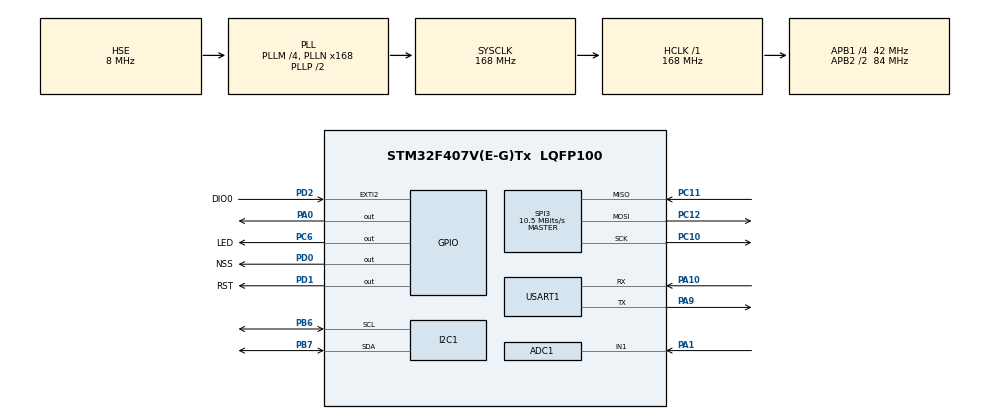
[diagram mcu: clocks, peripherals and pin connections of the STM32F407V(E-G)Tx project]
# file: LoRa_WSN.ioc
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ADC1.Channel-0\#ChannelRegularConversion=ADC_CHANNEL_1
ADC1.NbrOfConversionFlag=1
ADC1.Rank-0\#ChannelRegularConversion=1
ADC1.SamplingTime-0\#ChannelRegularConversion=ADC_SAMPLETIME_3CYCLES
ADC1.master=1
Dma.ADC1.0.Direction=DMA_PERIPH_TO_MEMORY
Dma.ADC1.0.FIFOMode=DMA_FIFOMODE_DISABLE
Dma.ADC1.0.Instance=DMA2_Stream0
Dma.ADC1.0.MemDataAlignment=DMA_MDATAALIGN_HALFWORD
Dma.ADC1.0.MemInc=DMA_MINC_ENABLE
Dma.ADC1.0.Mode=DMA_NORMAL
Dma.ADC1.0.PeriphDataAlignment=DMA_PDATAALIGN_HALFWORD
Dma.ADC1.0.PeriphInc=DMA_PINC_DISABLE
Dma.ADC1.0.Priority=DMA_PRIORITY_LOW
Dma.Request0=ADC1
FREERTOS.Tasks01=ReadSensorTask,0,256,StartReadSensorTask,Default,NULL,Dynamic,NULL,NULL
FREERTOS.configUSE_NEWLIB_REENTRANT=1
Mcu.Family=STM32F4
Mcu.Name=STM32F407V(E-G)Tx
Mcu.Package=LQFP100
NVIC.DMA2_Stream0_IRQn=true\:5\:0\:false\:false\:true\:true\:false\:true\:true
NVIC.EXTI2_IRQn=true\:0\:0\:false\:false\:true\:false\:true\:true\:true
NVIC.PriorityGroup=NVIC_PRIORITYGROUP_4
NVIC.SPI3_IRQn=true\:5\:0\:false\:false\:true\:true\:true\:true\:true
NVIC.TIM4_IRQn=true\:5\:0\:false\:false\:true\:true\:true\:true\:true
NVIC.TIM6_DAC_IRQn=true\:15\:0\:false\:false\:true\:false\:false\:true\:true
NVIC.TimeBase=TIM6_DAC_IRQn
NVIC.TimeBaseIP=TIM6
PA0-WKUP.Signal=GPIO_Output
PA1.Signal=ADCx_IN1
PA10.Mode=Asynchronous
PA10.Signal=USART1_RX
PA13.Mode=Serial_Wire
PA13.Signal=SYS_JTMS-SWDIO
PA14.Mode=Serial_Wire
PA14.Signal=SYS_JTCK-SWCLK
PA9.Mode=Asynchronous
PA9.Signal=USART1_TX
PB6.Mode=I2C
PB6.Signal=I2C1_SCL
PB7.Mode=I2C
PB7.Signal=I2C1_SDA
PC10.Mode=Full_Duplex_Master
PC10.Signal=SPI3_SCK
PC11.Mode=Full_Duplex_Master
PC11.Signal=SPI3_MISO
PC12.Mode=Full_Duplex_Master
PC12.Signal=SPI3_MOSI
PC6.GPIO_Label=LED
PC6.Signal=GPIO_Output
PD0.GPIO_Label=NSS
PD0.GPIO_Speed=GPIO_SPEED_FREQ_HIGH
PD0.PinState=GPIO_PIN_SET
PD0.Signal=GPIO_Output
PD1.GPIO_Label=RST
PD1.GPIO_Speed=GPIO_SPEED_FREQ_HIGH
PD1.PinState=GPIO_PIN_SET
PD1.Signal=GPIO_Output
PD2.GPIO_Label=DIO0
PD2.Signal=GPXTI2
PH0-OSC_IN.Mode=HSE-External-Oscillator
PH0-OSC_IN.Signal=RCC_OSC_IN
PH1-OSC_OUT.Mode=HSE-External-Oscillator
PH1-OSC_OUT.Signal=RCC_OSC_OUT
ProjectManager.HeapSize=0x200
ProjectManager.StackSize=0x400
ProjectManager.TargetToolchain=STM32CubeIDE
RCC.48MHZClocksFreq_Value=84000000
RCC.AHBFreq_Value=168000000
RCC.APB1CLKDivider=RCC_HCLK_DIV4
RCC.APB1Freq_Value=42000000
RCC.APB1TimFreq_Value=84000000
RCC.APB2CLKDivider=RCC_HCLK_DIV2
RCC.APB2Freq_Value=84000000
RCC.APB2TimFreq_Value=168000000
RCC.CortexFreq_Value=168000000
RCC.HCLKFreq_Value=168000000
RCC.HSE_VALUE=8000000
RCC.HSI_VALUE=16000000
RCC.LSE_VALUE=32768
RCC.PLLM=4
RCC.PLLN=168
RCC.PLLSourceVirtual=RCC_PLLSOURCE_HSE
RCC.SYSCLKFreq_VALUE=168000000
RCC.SYSCLKSource=RCC_SYSCLKSOURCE_PLLCLK
RCC.VCOOutputFreq_Value=336000000
SH.ADCx_IN1.0=ADC1_IN1,IN1
SPI3.BaudRatePrescaler=SPI_BAUDRATEPRESCALER_4
SPI3.CalculateBaudRate=10.5 MBits/s
SPI3.Direction=SPI_DIRECTION_2LINES
SPI3.Mode=SPI_MODE_MASTER
SPI3.VirtualType=VM_MASTER
USART1.VirtualMode=VM_ASYNC
VP_FREERTOS_VS_CMSIS_V1.Mode=CMSIS_V1
VP_SYS_VS_tim6.Mode=TIM6
VP_TIM4_VS_ClockSourceINT.Mode=Internal
board=custom

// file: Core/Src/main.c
/* USER CODE BEGIN Header */
/**
  ******************************************************************************
  * @file           : main.c
  * @brief          : Main program body
  ******************************************************************************
  * @attention
  *
  * Copyright (c) 2024 STMicroelectronics.
  * All rights reserved.
  *
  * This software is licensed under terms that can be found in the LICENSE file
  * in the root directory of this software component.
  * If no LICENSE file comes with this software, it is provided AS-IS.
  *
  ******************************************************************************
  */
/* USER CODE END Header */
#include "main.h"
#include "cmsis_os.h"
#include "adc.h"
#include "dma.h"
#include "i2c.h"
#include "spi.h"
#include "tim.h"
#include "usart.h"
#include "gpio.h"

/* USER CODE BEGIN Includes */
#include "stdio.h"
#include "stdlib.h"
#include "bmp280.h"
#include "math.h"
#include "uart_printf.h"

/* USER CODE END Includes */

void SystemClock_Config(void);
void MX_FREERTOS_Init(void);

int main(void)
{

  /* MCU Configuration--------------------------------------------------------*/

  /* Reset of all peripherals, Initializes the Flash interface and the Systick. */
  HAL_Init();

  /* Configure the system clock */
  SystemClock_Config();

  /* Initialize all configured peripherals */
  MX_GPIO_Init();
  MX_DMA_Init();
  MX_I2C1_Init();
  MX_USART1_UART_Init();
  MX_ADC1_Init();
  MX_TIM4_Init();
  MX_SPI3_Init();
  /* USER CODE BEGIN 2 */

  TimerDelay_Init();
  /* USER CODE END 2 */

  /* Call init function for freertos objects (in cmsis_os2.c) */
  MX_FREERTOS_Init();

  /* Start scheduler */
  osKernelStart();

  /* We should never get here as control is now taken by the scheduler */

  /* Infinite loop */
  while (1)
  {

  }
}

void SystemClock_Config(void)
{
  RCC_OscInitTypeDef RCC_OscInitStruct = {0};
  RCC_ClkInitTypeDef RCC_ClkInitStruct = {0};

  /** Configure the main internal regulator output voltage
  */
  __HAL_RCC_PWR_CLK_ENABLE();
  __HAL_PWR_VOLTAGESCALING_CONFIG(PWR_REGULATOR_VOLTAGE_SCALE1);

  /** Initializes the RCC Oscillators according to the specified parameters
  * in the RCC_OscInitTypeDef structure.
  */
  RCC_OscInitStruct.OscillatorType = RCC_OSCILLATORTYPE_HSE;
  RCC_OscInitStruct.HSEState = RCC_HSE_ON;
  RCC_OscInitStruct.PLL.PLLState = RCC_PLL_ON;
  RCC_OscInitStruct.PLL.PLLSource = RCC_PLLSOURCE_HSE;
  RCC_OscInitStruct.PLL.PLLM = 4;
  RCC_OscInitStruct.PLL.PLLN = 168;
  RCC_OscInitStruct.PLL.PLLP = RCC_PLLP_DIV2;
  RCC_OscInitStruct.PLL.PLLQ = 4;
  if (HAL_RCC_OscConfig(&RCC_OscInitStruct) != HAL_OK)
  {
    Error_Handler();
  }

  /** Initializes the CPU, AHB and APB buses clocks
  */
  RCC_ClkInitStruct.ClockType = RCC_CLOCKTYPE_HCLK|RCC_CLOCKTYPE_SYSCLK
                              |RCC_CLOCKTYPE_PCLK1|RCC_CLOCKTYPE_PCLK2;
  RCC_ClkInitStruct.SYSCLKSource = RCC_SYSCLKSOURCE_PLLCLK;
  RCC_ClkInitStruct.AHBCLKDivider = RCC_SYSCLK_DIV1;
  RCC_ClkInitStruct.APB1CLKDivider = RCC_HCLK_DIV4;
  RCC_ClkInitStruct.APB2CLKDivider = RCC_HCLK_DIV2;

  if (HAL_RCC_ClockConfig(&RCC_ClkInitStruct, FLASH_LATENCY_5) != HAL_OK)
  {
    Error_Handler();
  }
}

void HAL_TIM_PeriodElapsedCallback(TIM_HandleTypeDef *htim)
{
  if (htim->Instance == TIM6) {
    HAL_IncTick();
  }
}

void Error_Handler(void)
{
  __disable_irq();
  while (1)
  {
  }
}

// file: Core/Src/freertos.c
/* USER CODE BEGIN Header */
/**
  ******************************************************************************
  * File Name          : freertos.c
  * Description        : Code for freertos applications
  ******************************************************************************
  * @attention
  *
  * Copyright (c) 2024 STMicroelectronics.
  * All rights reserved.
  *
  * This software is licensed under terms that can be found in the LICENSE file
  * in the root directory of this software component.
  * If no LICENSE file comes with this software, it is provided AS-IS.
  *
  ******************************************************************************
  */
/* USER CODE END Header */

#include "FreeRTOS.h"
#include "task.h"
#include "main.h"
#include "cmsis_os.h"

/* USER CODE BEGIN Includes */
#include "bmp280.h"
#include "uart_printf.h"
#include "stdio.h"
#include "math.h"
#include "i2c.h"
#include "adc.h"
#include "MATH.h"
#include "DS18B20.h"
#include "SX1278.h"
#include "spi.h"
#include "gpio.h"

/* USER CODE END Includes */

/* USER CODE BEGIN PD */
#define P0 101325.0  // Ap suất chuẩn ở mực nước biển (Pa)
#define ALTITUDE_CONSTANT 44330.0  // Hằng số cho tính toán độ cao
/* USER CODE END PD */

/* USER CODE BEGIN Variables */
float altitude ,pressure, temperature;
uint16_t AD_RES = 0;
uint16_t soilMoisturePercent;

uint8_t Presence ;
float  Temperature;
uint8_t  Temp_byte1, Temp_byte2;
uint16_t TEMP;

BMP280_HandleTypedef bmp280;
// Lora
SX1278_hw_t SX1278_hw;
SX1278_t SX1278;

int master;
int ret;
char buffer[512];
int message;
int message_length;

/* USER CODE END Variables */
osThreadId ReadSensorTaskHandle;

void StartReadSensorTask(void const * argument);

void MX_FREERTOS_Init(void); /* (MISRA C 2004 rule 8.1) */

/* GetIdleTaskMemory prototype (linked to static allocation support) */
void vApplicationGetIdleTaskMemory( StaticTask_t **ppxIdleTaskTCBBuffer, StackType_t **ppxIdleTaskStackBuffer, uint32_t *pulIdleTaskStackSize );

/* USER CODE BEGIN GET_IDLE_TASK_MEMORY */
static StaticTask_t xIdleTaskTCBBuffer;
static StackType_t xIdleStack[configMINIMAL_STACK_SIZE];

void vApplicationGetIdleTaskMemory( StaticTask_t **ppxIdleTaskTCBBuffer, StackType_t **ppxIdleTaskStackBuffer, uint32_t *pulIdleTaskStackSize )
{
  *ppxIdleTaskTCBBuffer = &xIdleTaskTCBBuffer;
  *ppxIdleTaskStackBuffer = &xIdleStack[0];
  *pulIdleTaskStackSize = configMINIMAL_STACK_SIZE;
  /* place for user code */
}
/* USER CODE END GET_IDLE_TASK_MEMORY */

void MX_FREERTOS_Init(void) {

  /* Create the thread(s) */
  /* definition and creation of ReadSensorTask */
  osThreadDef(ReadSensorTask, StartReadSensorTask, osPriorityNormal, 0, 256);
  ReadSensorTaskHandle = osThreadCreate(osThread(ReadSensorTask), NULL);

}

void StartReadSensorTask(void const * argument)
{
  /* USER CODE BEGIN StartReadSensorTask */

//    bmp280_init_default_params(&bmp280.params);
//    bmp280.addr = BMP280_I2C_ADDRESS_0;
//    bmp280.i2c = &hi2c1;
//    // Khởi tạo BMP280, nếu thất bại thì hiển thị thông báo
//    while (!(bmp280_init(&bmp280, &bmp280.params))) {
//        printf("BMP280 initialization failed\n");
//        osDelay(1);
//    }
//    // Kiểm tra nếu khởi tạo thành công
//    if (bmp280.id == BMP280_CHIP_ID) {
//        printf("BMP280 init successfully\n");
//        osDelay(10);
//    }

		printf("Mode: Master\r\n");

		//initialize LoRa module
		SX1278_hw.dio0.port = DIO0_GPIO_Port;
		SX1278_hw.dio0.pin = DIO0_Pin;
		SX1278_hw.nss.port = NSS_GPIO_Port;
		SX1278_hw.nss.pin = NSS_Pin;
		SX1278_hw.reset.port = RST_GPIO_Port;
		SX1278_hw.reset.pin = RST_Pin;
		SX1278_hw.spi = &hspi3;

		SX1278.hw = &SX1278_hw;

		printf("Configuring LoRa module\r\n");
		SX1278_init(&SX1278, 434000000, SX1278_POWER_17DBM, SX1278_LORA_SF_7,
		SX1278_LORA_BW_125KHZ, SX1278_LORA_CR_4_5, SX1278_LORA_CRC_EN, 10);
		printf("Done configuring LoRaModule\r\n");

		ret = SX1278_LoRaEntryTx(&SX1278, 16, 2000);
		HAL_GPIO_WritePin(LED_GPIO_Port, LED_Pin, GPIO_PIN_RESET);

  /* Infinite loop */
  while(1)
  {

		printf("Master ...\r\n");
		osDelay(1000);
		printf("Sending package...\r\n");

		message_length = sprintf(buffer, "Hello %d", message);
		ret = SX1278_LoRaEntryTx(&SX1278, message_length, 2000);
		printf("Entry: %d\r\n", ret);

		printf("Sending %s\r\n", buffer);
		ret = SX1278_LoRaTxPacket(&SX1278, (uint8_t*) buffer,
				message_length, 2000);
		message += 1;

		printf("Transmission: %d\r\n", ret);
		printf("Package sent...\r\n");

//     temperature = bmp280_read_temperature(&bmp280);
//     pressure = bmp280_read_pressure(&bmp280);
//     altitude = ALTITUDE_CONSTANT * (1 - pow(pressure / P0, 1 / 5.255));
//     printf("Temperature: %.2f C  Pressure: %.2f Pa  Altitude: %.2f m \n", temperature, pressure, altitude );
//     osDelay(500);

//      Start ADC Conversion
//      Pass (The ADC Instance, Result Buffer Address, Buffer Length)
//      HAL_ADC_Start_DMA(&hadc1, &AD_RES, 1);
//      soilMoisturePercent = MAP(AD_RES, 0, 3727, 0, 100);
//      osDelay(1);
//      printf("soilMoisturePercent: %d %%\n",100 - soilMoisturePercent);
//      osDelay(500);

//     Presence = DS18B20_Start ();
//     DS18B20_Write (0xCC);  // skip ROM
//     DS18B20_Write (0x44);  // convert t
//
//     Presence = DS18B20_Start ();
//     DS18B20_Write (0xCC);  // skip ROM
//     DS18B20_Write (0xBE);  // Read Scratch-pad
//
//     Temp_byte1 = DS18B20_Read();
//     Temp_byte2 = DS18B20_Read();
//     TEMP = ((Temp_byte2<<8))|Temp_byte1;
//     Temperature = (float)TEMP/16.0;  // resolution is 0.0625
//
//     osDelay(500);
//     printf("Temperature_BMP280: %.2f C  Temperature_DS18B20: %.2f C\n", temperature, Temperature);

  }
  /* USER CODE END StartReadSensorTask */
}
